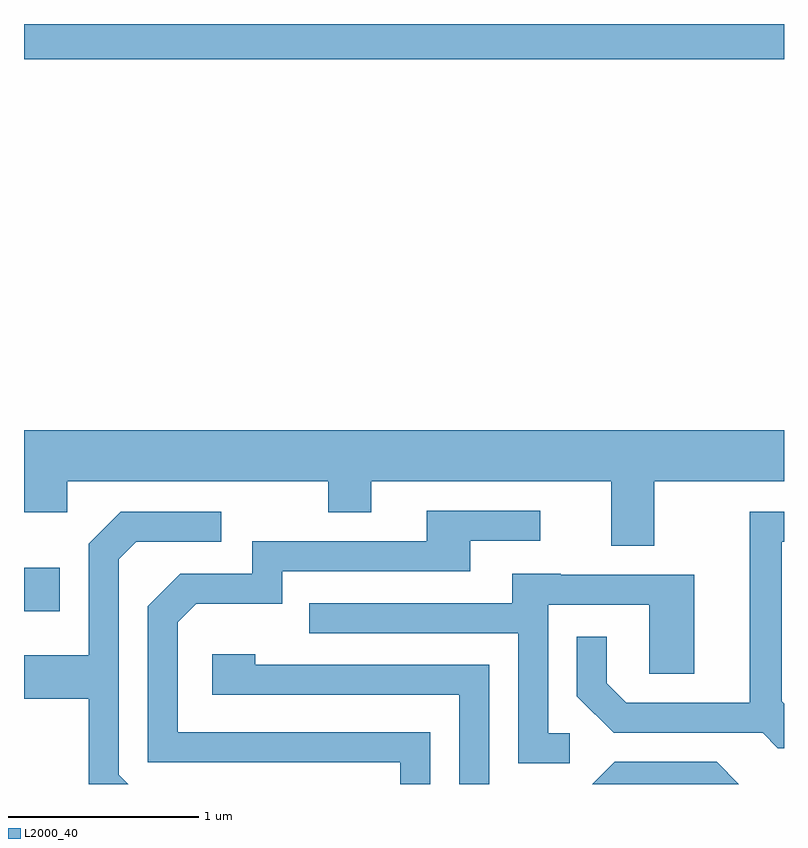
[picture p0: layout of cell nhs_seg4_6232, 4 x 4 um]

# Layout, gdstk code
import gdstk
lib = gdstk.Library(unit=1e-6, precision=1e-09)
def R(c, l, rs):  # rectangles x0, y0, x1, y1
    for r in rs: c.add(gdstk.rectangle(r[:2], r[2:], *l))
def P(c, l, *ps):  # polygons
    for p in ps: c.add(gdstk.Polygon(p, *l))
L2000_40 = (2000, 40)

nhs_seg4_6232 = lib.new_cell('nhs_seg4_6232')
R(nhs_seg4_6232, L2000_40, [(367.611,1342.891,367.799,1343.119), (367.611,1345.796,371.611,1345.982)])
P(nhs_seg4_6232, L2000_40, [(370.929,1343.576),(371.611,1343.576),(371.611,1343.844),(367.611,1343.844),(367.611,1343.411),(367.839,1343.411),(367.839,1343.576),(369.211,1343.576),(369.211,1343.411),(369.439,1343.411),(369.439,1343.576),(370.701,1343.576),(370.701,1343.236),(370.929,1343.236)],
  [(369.749,1342.254),(368.419,1342.254),(368.419,1342.834),(368.517,1342.931),(368.969,1342.931),(368.969,1343.101),(369.959,1343.101),(369.959,1343.261),(370.328,1343.261),(370.328,1343.419),(369.731,1343.419),(369.731,1343.259),(368.811,1343.259),(368.811,1343.089),(368.434,1343.089),(368.261,1342.917),(368.261,1342.096),(369.591,1342.096),(369.591,1341.982),(369.749,1341.982)],
  [(371.611,1342.405),(371.599,1342.417),(371.599,1343.256),(371.611,1343.256),(371.611,1343.414),(371.431,1343.414),(371.431,1342.409),(370.782,1342.409),(370.679,1342.512),(370.679,1342.758),(370.521,1342.758),(370.521,1342.444),(370.714,1342.251),(371.499,1342.251),(371.579,1342.171),(371.611,1342.171)],
  [(368.109,1342.032),(368.109,1343.164),(368.202,1343.256),(368.648,1343.256),(368.648,1343.414),(368.119,1343.414),(367.951,1343.247),(367.951,1342.659),(367.611,1342.659),(367.611,1342.431),(367.951,1342.431),(367.951,1341.982),(368.159,1341.982)],
  [(370.483,1342.249),(370.369,1342.249),(370.369,1342.926),(370.901,1342.926),(370.901,1342.561),(371.139,1342.561),(371.139,1343.084),(370.435,1343.084),(370.435,1343.089),(370.181,1343.089),(370.181,1342.934),(369.113,1342.934),(369.113,1342.776),(370.211,1342.776),(370.211,1342.091),(370.483,1342.091)],
  [(370.059,1342.609),(368.829,1342.609),(368.829,1342.664),(368.601,1342.664),(368.601,1342.451),(369.901,1342.451),(369.901,1341.982),(370.059,1341.982)],
  [(371.257,1342.099),(370.719,1342.099),(370.602,1341.982),(371.374,1341.982)])

lib.write_gds('nhs_seg4_6232.gds')
